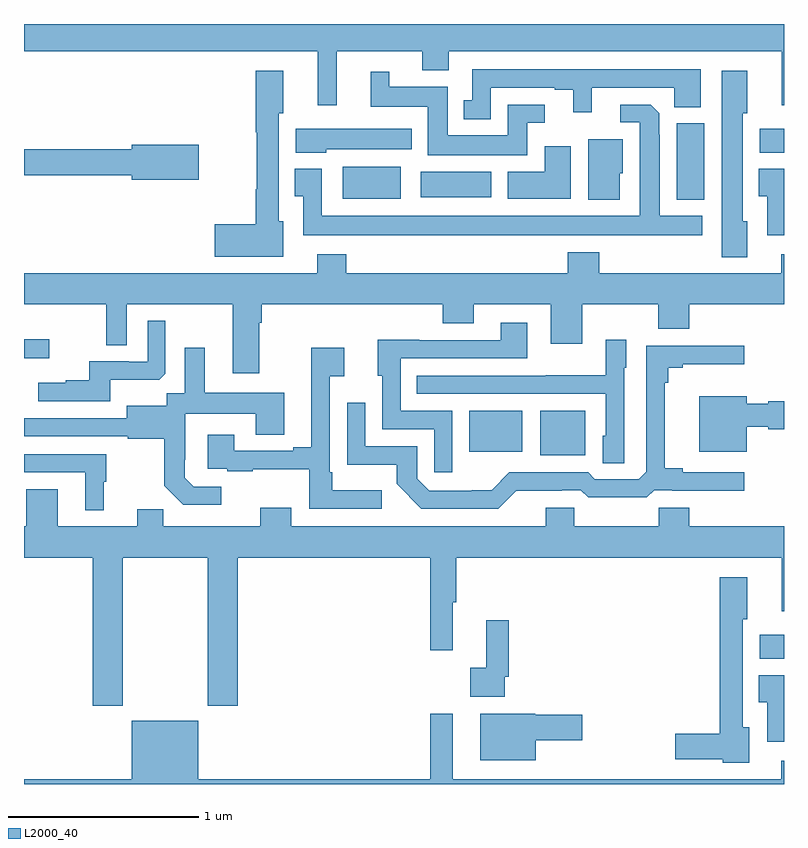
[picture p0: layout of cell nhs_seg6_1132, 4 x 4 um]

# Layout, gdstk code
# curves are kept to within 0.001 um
import gdstk
lib = gdstk.Library(unit=1e-6, precision=1e-09)
def R(c, l, rs):  # rectangles x0, y0, x1, y1
    for r in rs: c.add(gdstk.rectangle(r[:2], r[2:], *l))
def P(c, l, *ps):  # polygons
    for p in ps: c.add(gdstk.Polygon(p, *l))
L2000_40 = (2000, 40)

nhs_seg6_1132 = lib.new_cell('nhs_seg6_1132')
R(nhs_seg6_1132, L2000_40, [(184.872,924.158,185,924.286), (183.716,925.229,183.955,925.465), (183.344,925.25,183.622,925.465), (181,925.742,181.132,925.841), (184.436,926.576,184.579,926.977), (182.678,926.579,182.983,926.749), (183.087,926.588,183.46,926.722), (184.872,926.822,185,926.95)])
P(nhs_seg6_1132, L2000_40, [(182.645,927.356),(183.095,927.356),(183.095,927.257),(183.235,927.257),(183.235,927.356),(184.988,927.356),(184.988,927.072),(185,927.072),(185,927.5),(181,927.5),(181,927.356),(182.546,927.356),(182.546,927.072),(182.645,927.072)],
  [(183.456,927.165),(183.794,927.165),(183.794,927.153),(183.89,927.153),(183.89,927.036),(183.988,927.036),(183.988,927.165),(184.422,927.165),(184.422,927.062),(184.561,927.062),(184.561,927.261),(183.36,927.261),(183.36,927.099),(183.314,927.099),(183.314,926.999),(183.456,926.999)],
  [(182.365,926.463),(182.341,926.463),(182.341,927.03),(182.365,927.03),(182.365,927.253),(182.219,927.253),(182.219,926.93),(182.224,926.93),(182.224,926.63),(182.219,926.63),(182.219,926.447),(182.004,926.447),(182.004,926.276),(182.365,926.276)],
  [(184.807,926.463),(184.783,926.463),(184.783,927.03),(184.807,927.03),(184.807,927.253),(184.673,927.253),(184.673,926.273),(184.807,926.273)],
  [(183.649,926.979),(183.742,926.979),(183.742,927.075),(183.545,927.075),(183.545,926.914),(183.229,926.914),(183.229,927.169),(182.923,927.169),(182.923,927.25),(182.825,927.25),(182.825,927.065),(183.125,927.065),(183.125,926.81),(183.649,926.81)],
  [(184.57,926.491),(184.345,926.491),(184.344,927.029),(184.298,927.075),(184.137,927.075),(184.137,926.982),(184.241,926.982),(184.241,926.491),(182.568,926.491),(182.568,926.737),(182.426,926.737),(182.426,926.593),(182.471,926.593),(182.471,926.387),(184.57,926.387)],
  [(182.592,926.84),(183.04,926.84),(183.04,926.95),(182.43,926.95),(182.43,926.822),(182.592,926.822)],
  [(184.135,926.715),(184.15,926.715),(184.15,926.893),(183.971,926.893),(183.971,926.576),(184.135,926.576)],
  [(181.921,926.864),(181.568,926.864),(181.568,926.84),(181,926.84),(181,926.704),(181.568,926.704),(181.568,926.681),(181.921,926.681)],
  [(183.877,926.857),(183.74,926.857),(183.74,926.722),(183.545,926.722),(183.545,926.579),(183.877,926.579)],
  [(185,926.737),(184.868,926.737),(184.868,926.593),(184.913,926.593),(184.913,926.387),(185,926.387)],
  [(183.203,925.925),(183.367,925.925),(183.367,926.024),(183.773,926.024),(183.773,925.818),(183.937,925.818),(183.937,926.024),(184.337,926.024),(184.337,925.896),(184.501,925.896),(184.501,926.024),(185,926.024),(185,926.287),(184.985,926.287),(184.985,926.188),(184.028,926.188),(184.028,926.299),(183.863,926.299),(183.863,926.188),(182.696,926.188),(182.696,926.287),(182.543,926.287),(182.543,926.188),(181,926.188),(181,926.024),(181.434,926.024),(181.434,925.81),(181.542,925.81),(181.542,926.024),(182.099,926.024),(182.099,925.662),(182.239,925.662),(182.239,925.928),(182.252,925.928),(182.252,926.024),(183.203,926.024)],
  [(181.453,925.628),(181.711,925.628),(181.743,925.659),(181.743,925.939),(181.65,925.939),(181.65,925.722),(181.55,925.722),(181.55,925.725),(181.343,925.725),(181.343,925.624),(181.219,925.624),(181.219,925.612),(181.075,925.612),(181.075,925.515),(181.453,925.515)],
  [(183.255,925.464),(182.982,925.464),(182.982,925.74),(183.649,925.74),(183.649,925.927),(183.509,925.927),(183.509,925.836),(183.079,925.836),(183.079,925.838),(182.861,925.838),(182.861,925.65),(182.886,925.65),(182.886,925.368),(183.159,925.368),(183.159,925.14),(183.255,925.14)],
  [(184.158,925.692),(184.171,925.692),(184.171,925.837),(184.062,925.837),(184.062,925.651),(183.745,925.651),(183.745,925.65),(183.067,925.65),(183.067,925.554),(184.062,925.554),(184.062,925.332),(184.046,925.332),(184.046,925.189),(184.158,925.189)],
  [(183.59,925.043),(183.83,925.043),(183.83,925.047),(183.93,925.047),(183.97,925.008),(184.277,925.008),(184.317,925.047),(184.411,925.047),(184.411,925.043),(184.792,925.043),(184.792,925.14),(184.468,925.14),(184.468,925.163),(184.373,925.163),(184.373,925.613),(184.391,925.613),(184.391,925.69),(184.468,925.69),(184.468,925.709),(184.792,925.709),(184.792,925.806),(184.275,925.806),(184.275,925.143),(184.236,925.104),(184.005,925.104),(183.969,925.14),(183.555,925.14),(183.461,925.046),(183.356,925.046),(183.356,925.044),(183.132,925.044),(183.069,925.107),(183.069,925.278),(182.796,925.278),(182.796,925.507),(182.7,925.507),(182.7,925.181),(182.962,925.181),(182.962,925.079),(183.092,924.948),(183.495,924.948)],
  [(182.038,925.065),(181.893,925.065),(181.846,925.112),(181.846,925.207),(181.848,925.207),(181.848,925.448),(182.219,925.448),(182.219,925.339),(182.371,925.339),(182.371,925.558),(181.951,925.558),(181.951,925.795),(181.847,925.795),(181.847,925.556),(181.752,925.556),(181.752,925.492),(181.541,925.492),(181.541,925.425),(181,925.425),(181,925.329),(181.545,925.329),(181.545,925.317),(181.737,925.317),(181.737,925.071),(181.837,924.971),(182.038,924.971)],
  [(182.884,925.045),(182.623,925.045),(182.623,925.141),(182.61,925.141),(182.61,925.646),(182.686,925.646),(182.686,925.795),(182.513,925.795),(182.513,925.273),(182.417,925.273),(182.417,925.254),(182.107,925.254),(182.107,925.339),(181.967,925.339),(181.967,925.158),(182.071,925.158),(182.071,925.146),(182.203,925.146),(182.203,925.157),(182.502,925.157),(182.502,924.948),(182.884,924.948)],
  [(184.804,925.379),(184.917,925.379),(184.917,925.367),(185,925.367),(185,925.514),(184.917,925.514),(184.917,925.501),(184.804,925.501),(184.804,925.54),(184.553,925.54),(184.553,925.25),(184.804,925.25)],
  [(181.42,925.092),(181.432,925.092),(181.432,925.236),(181,925.236),(181,925.14),(181.322,925.14),(181.322,924.941),(181.42,924.941)],
  [(181.521,924.692),(181.966,924.692),(181.966,923.913),(182.126,923.913),(182.126,924.692),(183.139,924.692),(183.139,924.204),(183.257,924.204),(183.257,924.456),(183.275,924.456),(183.275,924.692),(184.988,924.692),(184.988,924.408),(185,924.408),(185,924.856),(184.502,924.856),(184.502,924.954),(184.342,924.954),(184.342,924.856),(183.897,924.856),(183.897,924.954),(183.746,924.954),(183.746,924.856),(182.407,924.856),(182.407,924.955),(182.243,924.955),(182.243,924.856),(181.733,924.856),(181.733,924.947),(181.595,924.947),(181.595,924.856),(181.177,924.856),(181.177,925.051),(181.013,925.051),(181.013,924.856),(181,924.856),(181,924.692),(181.361,924.692),(181.361,923.913),(181.521,923.913)],
  [(184.816,923.799),(184.783,923.799),(184.783,924.366),(184.807,924.366),(184.807,924.589),(184.661,924.589),(184.661,923.765),(184.428,923.765),(184.428,923.63),(184.677,923.63),(184.677,923.612),(184.816,923.612)],
  [(183.531,924.064),(183.551,924.064),(183.551,924.361),(183.434,924.361),(183.434,924.113),(183.348,924.113),(183.348,923.96),(183.531,923.96)],
  [(185,924.073),(184.868,924.073),(184.868,923.929),(184.913,923.929),(184.913,923.723),(185,923.723)],
  [(183.694,923.729),(183.937,923.729),(183.937,923.864),(183.69,923.864),(183.69,923.869),(183.401,923.869),(183.401,923.624),(183.694,923.624)],
  [(185,923.623),(184.985,923.623),(184.985,923.524),(183.256,923.524),(183.256,923.869),(183.139,923.869),(183.139,923.524),(181.918,923.524),(181.918,923.833),(181.568,923.833),(181.568,923.524),(181,923.524),(181,923.5),(185,923.5)])

lib.write_gds('nhs_seg6_1132.gds')
